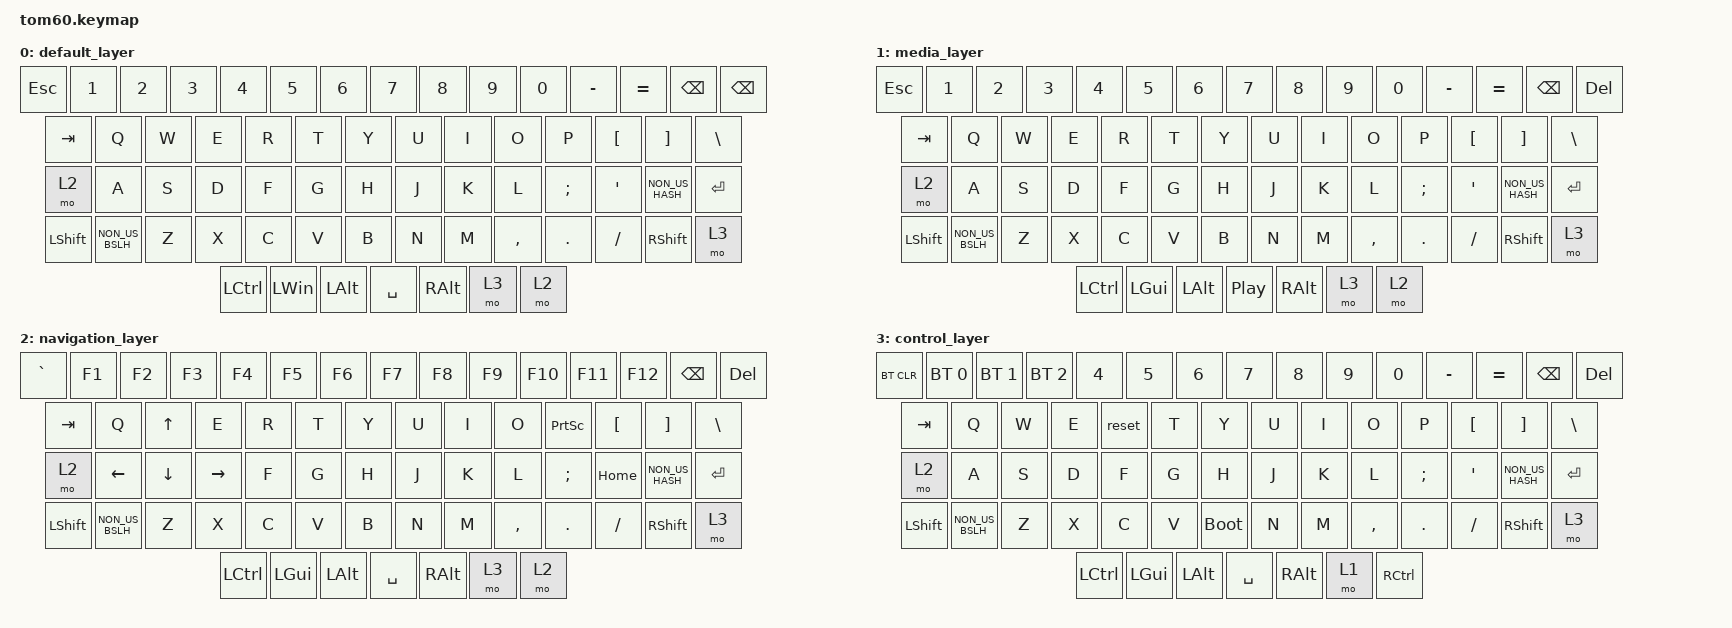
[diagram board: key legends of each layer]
/*
 * BSD 2-Clause "Simplified" License
 */

#include <behaviors.dtsi>
#include <dt-bindings/zmk/keys.h>
#include <dt-bindings/zmk/bt.h>
#include <dt-bindings/zmk/outputs.h>
#include <dt-bindings/zmk/ext_power.h>

/ {
	keymap {
		compatible = "zmk,keymap";
		
		default_layer {
// ---------------------------------------------------------------------------------------------
// | ~ |  1  |  2  |  3  |  4  |  5  |  6  |  7  |  8  |  9  |  0  |  -  |  =  |   BKSP  | DEL |
// | TAB  |  Q  |  W  |  E  |  R  |  T  |  Y  |  U  |  I  |  O  |  P  |  [  |  ]  |   "|"      |
// | ESC(L2)  |  A  |  S  |  D  |  F  |  G  |  H  |  J  |  K  |  L  | ; | ' | NUHS | ENTER     |
// | SHIFT | NUBS |  Z  |  X  |  C  |  V  |  B  |  N  |  M  |  ,  |  .  |  /  |   SHIFT  |MO(3)|
// |  CTL  |  WIN  |  ALT  |                  SPACE                |  ALT  |  MO(1) |  CTL     |
// ---------------------------------------------------------------------------------------------
			bindings = <
	&kp ESC  &kp N1 &kp N2 &kp N3 &kp N4 &kp N5 &kp N6 &kp N7 &kp N8 &kp N9 &kp N0 &kp MINUS &kp EQUAL &kp BSPC &kp BSPC
	&kp TAB  &kp Q  &kp W  &kp E  &kp R  &kp T  &kp Y  &kp U  &kp I  &kp O  &kp P  &kp LBKT  &kp RBKT  &kp BSLH
	&mo 2   &kp A  &kp S  &kp D  &kp F  &kp G  &kp H  &kp J  &kp K  &kp L  &kp SEMI &kp SQT &kp NON_US_HASH  &kp RET
	&kp LSHFT &kp NON_US_BSLH  &kp Z  &kp X  &kp C  &kp V  &kp B  &kp N  &kp M  &kp COMMA &kp DOT &kp FSLH   &kp RSHFT &mo 3
	&kp LCTRL &kp LWIN &kp LALT             &kp SPACE                     &kp RALT  &mo 3   &mo 2
			>;
		};

		media_layer {
// ---------------------------------------------------------------------------------------------
// | ~ |  1  |  2  |  3  |  4  |  5  |  6  |  7  |  8  |  9  |  0  |  -  |  =  |   BKSP  | DEL |
// | TAB  |  Q  |  W  |  E  |  R  |  T  |  Y  |  U  |  I  |  O  |  P  |  [  |  ]  |   "|"      |
// | ESC(L2)  |  A  |  S  |  D  |  F  |  G  |  H  |  J  |  K  |  L  | ; | ' | NUHS | ENTER     |
// | SHIFT | NUBS |  Z  |  X  |  C  |  V  |  B  |  N  |  M  |  ,  |  .  |  /  |   SHIFT  |MO(3)|
// |  CTL  |  WIN  |  ALT  |                  play                 |  ALT  |  MO(1) |  CTL     |
// ---------------------------------------------------------------------------------------------
			bindings = <
	&kp ESC  &kp N1 &kp N2 &kp N3 &kp N4 &kp N5 &kp N6 &kp N7 &kp N8 &kp N9 &kp N0 &kp MINUS &kp EQUAL &kp BSPC &kp DEL
	&kp TAB  &kp Q  &kp W  &kp E  &kp R  &kp T  &kp Y  &kp U  &kp I  &kp O  &kp P  &kp LBKT  &kp RBKT  &kp BSLH
	&mo 2  &kp A  &kp S  &kp D  &kp F  &kp G  &kp H  &kp J  &kp K  &kp L  &kp SEMI &kp SQT &kp NON_US_HASH  &kp RET
	&kp LSHFT &kp NON_US_BSLH  &kp Z  &kp X  &kp C  &kp V  &kp B  &kp N  &kp M  &kp COMMA &kp DOT &kp FSLH   &kp RSHFT &mo 3  
	&kp LCTRL &kp LGUI &kp LALT             &kp C_PP                     &kp RALT   &mo 3   &mo 2
			>;
		};

	navigation_layer {
// ---------------------------------------------------------------------------------------------
// | ~ |  1  |  2  |  3  |  4  |  5  |  6  |  7  |  8  |  9  |  0  |  -  |  =  |   BKSP  | DEL |
// | TAB  |  Q  |  W  |  E  |  R  |  T  |  Y  |  U  |  I  |  O  |  P  |  [  |  ]  |   "|"      |
// | ESC(L2)  |  A  |  S  |  D  |  F  |  G  |left| DOWN | up |right | ; | ' | NUHS | ENTER     |
// | SHIFT | NUBS |  Z  |  X  |  C  |  V  |  B  |  N  |  M  |  ,  |  .  |  /  |   SHIFT  |MO(3)|
// |  CTL  |  WIN  |  ALT  |                  SPACE                |  ALT  |  MO(1) |  CTL     |
// ---------------------------------------------------------------------------------------------
			bindings = <
	&kp GRAVE  &kp F1 &kp F2 &kp F3 &kp F4 &kp F5 &kp F6 &kp F7 &kp F8 &kp F9 &kp F10 &kp F11 &kp F12 &kp BSPC &kp DEL
	&kp TAB  &kp Q  &kp UP  &kp E  &kp R  &kp T  &kp Y  &kp U  &kp I  &kp O  &kp PSCRN  &kp LBKT  &kp RBKT  &kp BSLH
	&mo 2 &kp LEFT  &kp DOWN  &kp RIGHT  &kp F  &kp G  &kp H  &kp J  &kp K  &kp L  &kp SEMI &kp HOME &kp NON_US_HASH  &kp RET
	&kp LSHFT &kp NON_US_BSLH  &kp Z  &kp X  &kp C  &kp V  &kp B  &kp N  &kp M  &kp COMMA &kp DOT &kp FSLH   &kp RSHFT &mo 3 
	&kp LCTRL &kp LGUI &kp LALT             &kp SPACE                     &kp RALT   &mo 3   &mo 2
			>;
		};

	control_layer {
// ---------------------------------------------------------------------------------------------
// |BTCL|BT1 | BT2 | BT3 |  4  |  5  |  6  |  7  |  8  |  9  |  0  |  -  |  =  |   BKSP  | DEL |
// | TAB  |  Q  |  W  |  E  |RESET|  T  |  Y  |  U  |  I  |  O  |  P  |  [  |  ]  |   "|"      |
// | ESC(L2)  |  A  |  S  |  D  |  F  |  G  |  H  |  J  |  K  |  L  | ; | ' | NUHS | ENTER     |
// | SHIFT | NUBS |  Z  |  X  |  C  |  V  | BOOT|  N  |  M  |  ,  |  .  |  /  |   SHIFT  |MO(3)|
// |  CTL  |  WIN  |  ALT  |                  SPACE                |  ALT  |  MO(1) |  CTL     |
// ---------------------------------------------------------------------------------------------
			bindings = <
	&bt BT_CLR   &bt BT_SEL 0 &bt BT_SEL 1 &bt BT_SEL 2 &kp N4 &kp N5 &kp N6 &kp N7 &kp N8 &kp N9 &kp N0 &kp MINUS &kp EQUAL &kp BSPC &kp DEL
	&kp TAB  &kp Q  &kp W  &kp E  &reset  &kp T  &kp Y  &kp U  &kp I  &kp O  &kp P  &kp LBKT  &kp RBKT  &kp BSLH
	&mo 2 &kp A  &kp S  &kp D  &kp F  &kp G  &kp H  &kp J  &kp K  &kp L  &kp SEMI &kp SQT &kp NON_US_HASH  &kp RET
	&kp LSHFT &kp NON_US_BSLH  &kp Z  &kp X  &kp C  &kp V  &bootloader  &kp N  &kp M  &kp COMMA &kp DOT &kp FSLH   &kp RSHFT &mo 3
	&kp LCTRL &kp LGUI &kp LALT             &kp SPACE                     &kp RALT   &mo 1   &kp RCTRL
			>;
		};

	};
};
